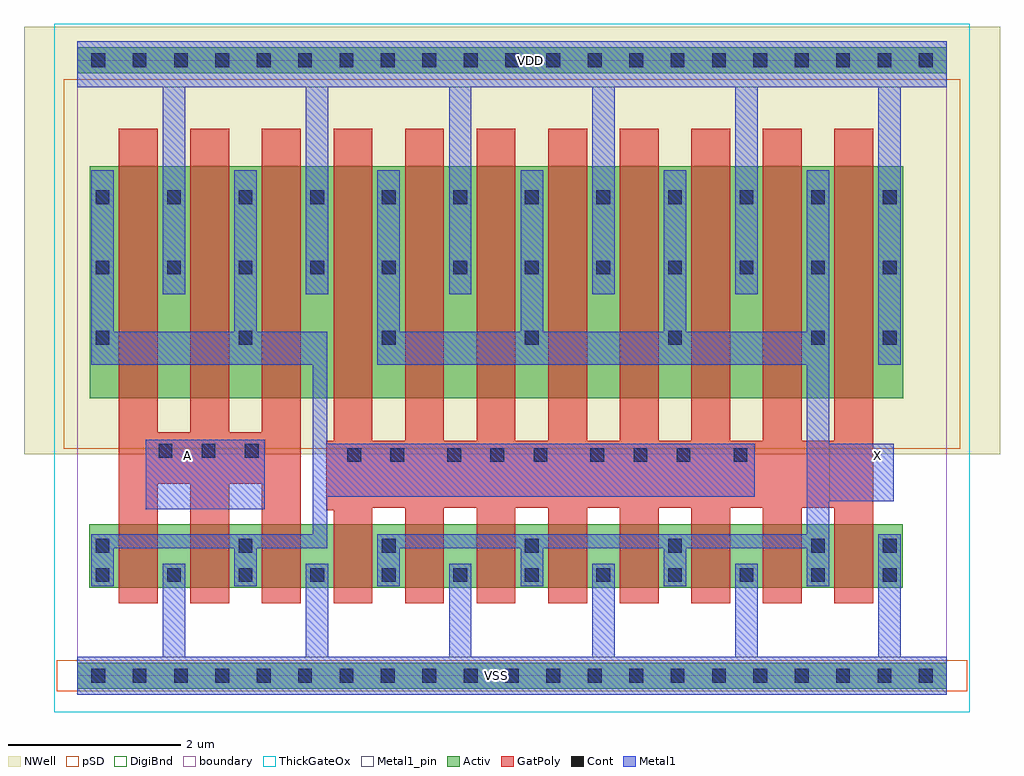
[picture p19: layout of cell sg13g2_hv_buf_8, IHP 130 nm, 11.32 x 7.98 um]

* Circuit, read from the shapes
.subckt sg13g2_hv_buf_8 A VDD VSS X
XM1 VSS A n1 VSS sg13_hv_nmos w=0.74u l=0.45u m=3
XM2 X n1 VSS VSS sg13_hv_nmos w=0.74u l=0.45u m=8
XM3 VDD A n1 VDD sg13_hv_pmos w=2.69u l=0.45u m=3
XM4 X n1 VDD VDD sg13_hv_pmos w=2.69u l=0.45u m=8
.ends

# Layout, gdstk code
import gdstk
lib = gdstk.Library(unit=1e-6, precision=1e-09)
def R(c, l, rs):  # rectangles x0, y0, x1, y1
    for r in rs: c.add(gdstk.rectangle(r[:2], r[2:], *l))
def A(c, l, x, y, w, h, nx, ny, dx, dy):  # array of equal rectangles
    R(c, l, [(x+i*dx, y+j*dy, x+i*dx+w, y+j*dy+h) for i in range(nx) for j in range(ny)])
def P(c, l, *ps):  # polygons
    for p in ps: c.add(gdstk.Polygon(p, *l))
Activ = (1, 0)
GatPoly = (5, 0)
Cont = (6, 0)
Metal1 = (8, 0)
Metal1_pin = (8, 2)
pSD = (14, 0)
DigiBnd = (16, 0)
NWell = (31, 0)
ThickGateOx = (44, 0)
boundary = (189, 4)

sg13g2_hv_buf_8 = lib.new_cell('sg13g2_hv_buf_8')
R(sg13g2_hv_buf_8, Activ, [(0,-0.15,10.08,0.15), (0.135,1.02,9.57,1.76), (0.14,3.22,9.575,5.91), (0,6.99,10.08,7.29)])
P(sg13g2_hv_buf_8, GatPoly, [(2.97,0.84),(2.97,1.92),(2.885,1.92),(2.885,2.725),(2.97,2.725),(2.97,6.345),(3.42,6.345),(3.42,2.725),(3.8,2.725),(3.8,6.345),(4.25,6.345),(4.25,2.725),(4.63,2.725),(4.63,6.345),(5.08,6.345),(5.08,2.725),(5.46,2.725),(5.46,6.345),(5.91,6.345),(5.91,2.725),(6.29,2.725),(6.29,6.345),(6.74,6.345),(6.74,2.725),(7.12,2.725),(7.12,6.345),(7.57,6.345),(7.57,2.725),(7.95,2.725),(7.95,6.345),(8.4,6.345),(8.4,2.725),(8.78,2.725),(8.78,6.345),(9.23,6.345),(9.23,0.84),(8.78,0.84),(8.78,1.95),(8.4,1.95),(8.4,0.84),(7.95,0.84),(7.95,1.95),(7.57,1.95),(7.57,0.84),(7.12,0.84),(7.12,1.95),(6.74,1.95),(6.74,0.84),(6.29,0.84),(6.29,1.95),(5.91,1.95),(5.91,0.84),(5.46,0.84),(5.46,1.95),(5.08,1.95),(5.08,0.84),(4.63,0.84),(4.63,1.95),(4.25,1.95),(4.25,0.84),(3.8,0.84),(3.8,1.95),(3.42,1.95),(3.42,0.84)],
  [(0.48,0.84),(0.48,6.345),(0.93,6.345),(0.93,2.825),(1.31,2.825),(1.31,6.345),(1.76,6.345),(1.76,2.825),(2.14,2.825),(2.14,6.345),(2.59,6.345),(2.59,0.84),(2.14,0.84),(2.14,2.225),(1.76,2.225),(1.76,0.84),(1.31,0.84),(1.31,2.225),(0.93,2.225),(0.93,0.84)])
A(sg13g2_hv_buf_8, Cont, 0.16, -0.08, 0.16, 0.16, 21, 2, 0.48, 7.14)
A(sg13g2_hv_buf_8, Cont, 0.21, 1.09, 0.16, 0.16, 12, 2, 0.83, 3.565)
A(sg13g2_hv_buf_8, Cont, 0.21, 1.43, 0.16, 0.16, 6, 2, 1.66, 2.41)
A(sg13g2_hv_buf_8, Cont, 4.29, 2.48, 0.16, 0.16, 3, 1, 0.5, 0)
A(sg13g2_hv_buf_8, Cont, 5.95, 2.48, 0.16, 0.16, 3, 1, 0.5, 0)
A(sg13g2_hv_buf_8, Cont, 0.94, 2.53, 0.16, 0.16, 3, 1, 0.5, 0)
A(sg13g2_hv_buf_8, Cont, 0.21, 5.47, 0.16, 0.16, 12, 1, 0.83, 0)
R(sg13g2_hv_buf_8, Cont, [(9.34,1.43,9.5,1.59), (3.13,2.48,3.29,2.64), (3.63,2.48,3.79,2.64), (7.61,2.48,7.77,2.64), (9.34,3.84,9.5,4)])
R(sg13g2_hv_buf_8, Metal1, [(0.79,1.93,2.175,2.74)])
P(sg13g2_hv_buf_8, Metal1, [(0.16,1.04),(0.16,1.64),(2.73,1.64),(2.73,3.61),(0.16,3.61),(0.16,5.865),(0.42,5.865),(0.42,3.99),(1.82,3.99),(1.82,5.865),(2.08,5.865),(2.08,3.99),(2.9,3.99),(2.9,2.69),(7.855,2.69),(7.855,2.075),(2.9,2.075),(2.9,1.48),(2.08,1.48),(2.08,1.04),(1.82,1.04),(1.82,1.48),(0.42,1.48),(0.42,1.04)],
  [(3.48,1.04),(3.48,1.64),(8.46,1.64),(8.46,3.61),(3.48,3.61),(3.48,5.865),(3.74,5.865),(3.74,3.99),(5.14,3.99),(5.14,5.865),(5.4,5.865),(5.4,3.99),(6.8,3.99),(6.8,5.865),(7.06,5.865),(7.06,3.99),(8.46,3.99),(8.46,5.865),(8.72,5.865),(8.72,2.69),(9.47,2.69),(9.47,2.025),(8.72,2.025),(8.72,1.04),(8.46,1.04),(8.46,1.48),(7.06,1.48),(7.06,1.04),(6.8,1.04),(6.8,1.48),(5.4,1.48),(5.4,1.04),(5.14,1.04),(5.14,1.48),(3.74,1.48),(3.74,1.04)],
  [(9.29,3.61),(9.29,6.825),(7.89,6.825),(7.89,4.425),(7.63,4.425),(7.63,6.825),(6.23,6.825),(6.23,4.425),(5.97,4.425),(5.97,6.825),(4.57,6.825),(4.57,4.425),(4.31,4.425),(4.31,6.825),(2.91,6.825),(2.91,4.425),(2.65,4.425),(2.65,6.825),(1.25,6.825),(1.25,4.425),(0.99,4.425),(0.99,6.825),(0,6.825),(0,7.36),(10.08,7.36),(10.08,6.825),(9.55,6.825),(9.55,3.61)],
  [(0,-0.22),(0,0.22),(0.99,0.22),(0.99,1.3),(1.25,1.3),(1.25,0.22),(2.65,0.22),(2.65,1.3),(2.91,1.3),(2.91,0.22),(4.31,0.22),(4.31,1.3),(4.57,1.3),(4.57,0.22),(5.97,0.22),(5.97,1.3),(6.23,1.3),(6.23,0.22),(7.63,0.22),(7.63,1.3),(7.89,1.3),(7.89,0.22),(9.29,0.22),(9.29,1.64),(9.55,1.64),(9.55,0.22),(10.08,0.22),(10.08,-0.22)])
R(sg13g2_hv_buf_8, Metal1_pin, [(0,-0.22,10.08,0.22), (0.79,1.93,2.175,2.74), (8.72,2.025,9.47,2.69), (0,6.825,10.08,7.36)])
R(sg13g2_hv_buf_8, pSD, [(-0.24,-0.18,10.32,0.18), (-0.16,2.635,10.24,6.92)])
R(sg13g2_hv_buf_8, DigiBnd, [(0,0,10.08,7.14)])
R(sg13g2_hv_buf_8, NWell, [(-0.62,2.57,10.7,7.53)])
R(sg13g2_hv_buf_8, ThickGateOx, [(-0.27,-0.42,10.35,7.56)])
R(sg13g2_hv_buf_8, boundary, [(0,0,10.08,7.14)])
sg13g2_hv_buf_8.add(gdstk.Label('X', (9.28,2.555), layer=8, texttype=25))
sg13g2_hv_buf_8.add(gdstk.Label('VDD', (5.25,7.135), layer=8, texttype=25))
sg13g2_hv_buf_8.add(gdstk.Label('A', (1.28,2.555), layer=8, texttype=25))
sg13g2_hv_buf_8.add(gdstk.Label('VSS', (4.855,0.005), layer=8, texttype=25))

lib.write_gds('sg13g2_hv_buf_8.gds')
